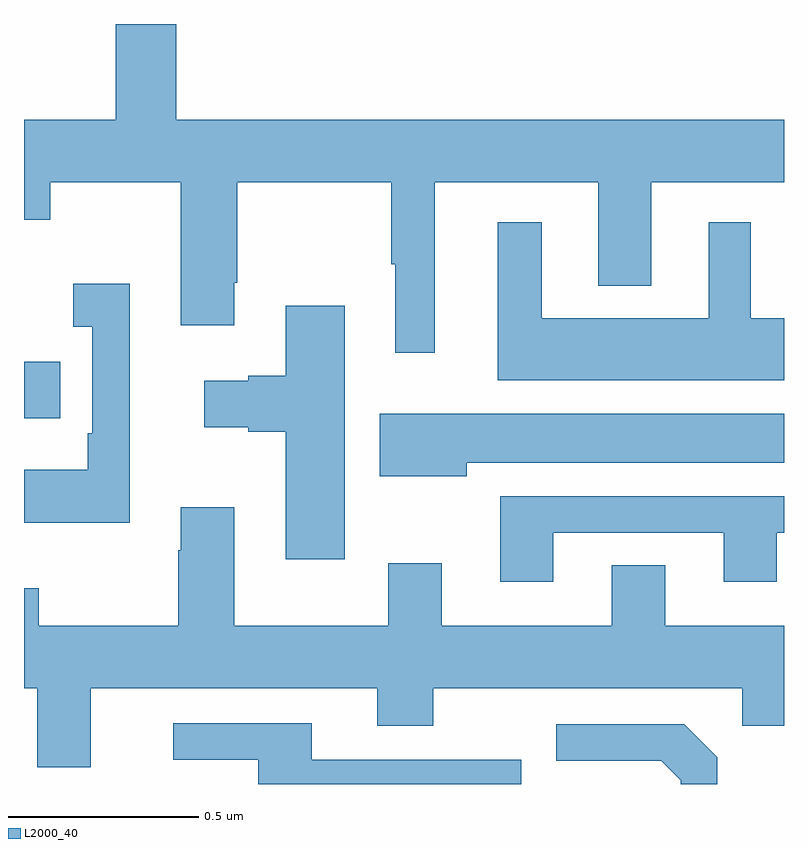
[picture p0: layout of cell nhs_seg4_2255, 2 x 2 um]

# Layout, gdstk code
import gdstk
lib = gdstk.Library(unit=1e-6, precision=1e-09)
def R(c, l, rs):  # rectangles x0, y0, x1, y1
    for r in rs: c.add(gdstk.rectangle(r[:2], r[2:], *l))
def P(c, l, *ps):  # polygons
    for p in ps: c.add(gdstk.Polygon(p, *l))
L2000_40 = (2000, 40)

nhs_seg4_2255 = lib.new_cell('nhs_seg4_2255')
R(nhs_seg4_2255, L2000_40, [(138,798.863,138.095,799.011)])
P(nhs_seg4_2255, L2000_40, [(139.081,799.484),(139.511,799.484),(139.511,799.211),(139.651,799.211),(139.651,799.484),(140,799.484),(140,799.648),(138.401,799.648),(138.401,799.9),(138.241,799.9),(138.241,799.648),(138,799.648),(138,799.385),(138.069,799.385),(138.069,799.484),(138.413,799.484),(138.413,799.107),(138.553,799.107),(138.553,799.219),(138.561,799.219),(138.561,799.484),(138.967,799.484),(138.967,799.268),(138.977,799.268),(138.977,799.035),(139.081,799.035)],
  [(140,799.126),(139.912,799.126),(139.912,799.378),(139.802,799.378),(139.802,799.126),(139.363,799.126),(139.363,799.378),(139.247,799.378),(139.247,798.962),(140,798.962)],
  [(138.278,799.216),(138.129,799.216),(138.129,799.103),(138.18,799.103),(138.18,798.823),(138.168,798.823),(138.168,798.727),(138,798.727),(138,798.587),(138.278,798.587)],
  [(138.844,799.159),(138.689,799.159),(138.689,798.974),(138.59,798.974),(138.59,798.961),(138.474,798.961),(138.474,798.839),(138.59,798.839),(138.59,798.827),(138.689,798.827),(138.689,798.492),(138.844,798.492)],
  [(139.165,798.746),(140,798.746),(140,798.874),(138.936,798.874),(138.936,798.71),(139.165,798.71)],
  [(139.393,798.561),(139.841,798.561),(139.841,798.432),(139.981,798.432),(139.981,798.561),(140,798.561),(140,798.657),(139.253,798.657),(139.253,798.432),(139.393,798.432)],
  [(138.175,798.152),(138.929,798.152),(138.929,798.053),(139.077,798.053),(139.077,798.152),(139.89,798.152),(139.89,798.053),(140,798.053),(140,798.316),(139.687,798.316),(139.687,798.476),(139.547,798.476),(139.547,798.316),(139.099,798.316),(139.099,798.481),(138.959,798.481),(138.959,798.316),(138.553,798.316),(138.553,798.628),(138.413,798.628),(138.413,798.515),(138.406,798.515),(138.406,798.316),(138.039,798.316),(138.039,798.415),(138,798.415),(138,798.152),(138.035,798.152),(138.035,797.944),(138.175,797.944)],
  [(139.308,797.964),(138.757,797.964),(138.757,798.06),(138.393,798.06),(138.393,797.964),(138.617,797.964),(138.617,797.9),(139.308,797.9)],
  [(139.824,797.97),(139.737,798.057),(139.401,798.057),(139.401,797.961),(139.677,797.961),(139.728,797.91),(139.728,797.9),(139.824,797.9)])

lib.write_gds('nhs_seg4_2255.gds')
